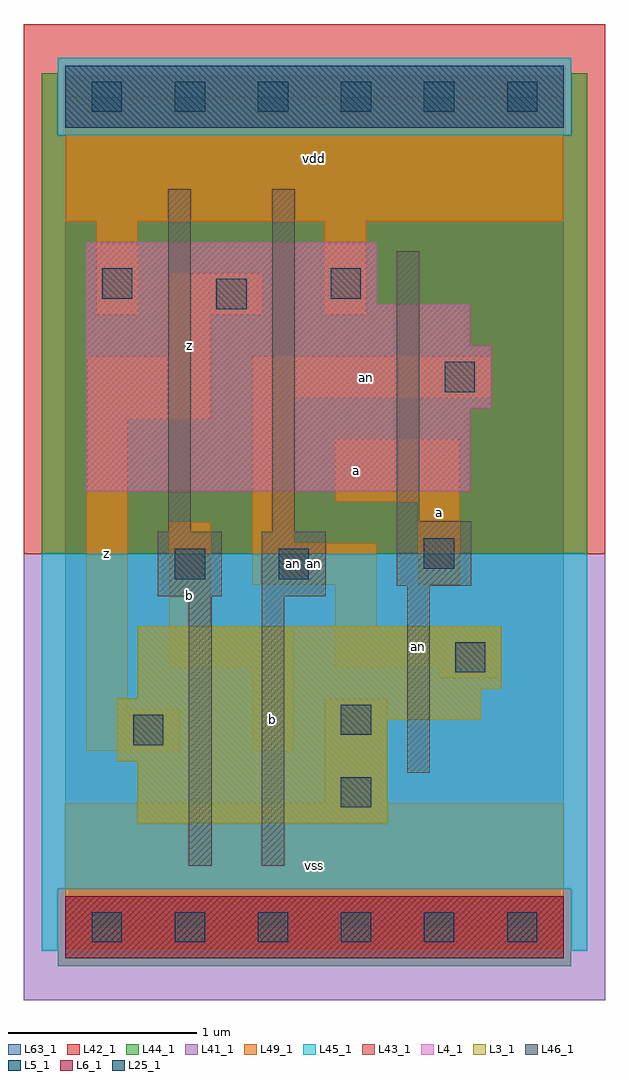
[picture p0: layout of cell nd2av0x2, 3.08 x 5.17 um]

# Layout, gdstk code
import gdstk
lib = gdstk.Library(unit=1e-6, precision=1e-09)
def R(c, l, rs):  # rectangles x0, y0, x1, y1
    for r in rs: c.add(gdstk.rectangle(r[:2], r[2:], *l))
def A(c, l, x, y, w, h, nx, ny, dx, dy):  # array of equal rectangles
    R(c, l, [(x+i*dx, y+j*dy, x+i*dx+w, y+j*dy+h) for i in range(nx) for j in range(ny)])
L3_1 = (3, 1)
L4_1 = (4, 1)
L5_1 = (5, 1)
L6_1 = (6, 1)
L25_1 = (25, 1)
L41_1 = (41, 1)
L42_1 = (42, 1)
L43_1 = (43, 1)
L44_1 = (44, 1)
L45_1 = (45, 1)
L46_1 = (46, 1)
L49_1 = (49, 1)
L63_1 = (63, 1)

nd2av0x2 = lib.new_cell('nd2av0x2')
R(nd2av0x2, L3_1, [(0.385,0.55,1.705,0.88), (0.275,0.88,1.705,1.1), (0.275,1.1,2.2,1.21), (0.385,1.21,2.2,1.265), (0.385,1.265,2.31,1.595)])
R(nd2av0x2, L4_1, [(0.11,2.31,2.145,2.75), (0.11,2.75,2.255,3.08), (0.11,3.08,2.145,3.3), (0.11,3.3,1.65,3.63)])
R(nd2av0x2, L5_1, [(0,4.235,2.64,4.565)])
R(nd2av0x2, L6_1, [(0,-0.165,2.64,0.165)])
A(nd2av0x2, L25_1, 0.14, -0.08, 0.16, 0.16, 6, 2, 0.44, 4.4)
R(nd2av0x2, L25_1, [(1.46,0.635,1.62,0.795), (0.36,0.965,0.52,1.125), (1.46,1.02,1.62,1.18), (2.065,1.35,2.225,1.51), (0.58,1.845,0.74,2.005), (1.13,1.845,1.29,2.005), (1.9,1.9,2.06,2.06), (2.01,2.835,2.17,2.995), (0.8,3.275,0.96,3.435), (0.195,3.33,0.355,3.49), (1.405,3.33,1.565,3.49)])
R(nd2av0x2, L41_1, [(-0.22,-0.385,2.86,1.98)])
R(nd2av0x2, L42_1, [(-0.22,1.98,2.86,4.785)])
R(nd2av0x2, L43_1, [(0,-0.165,2.64,0.165), (0.385,0.55,1.705,0.88), (0.275,0.88,1.705,1.1), (0.275,1.1,2.2,1.21), (0.385,1.21,2.2,1.265), (0.385,1.265,2.31,1.595), (0.11,2.31,2.145,2.75), (0.11,2.75,2.255,3.08), (0.11,3.08,2.145,3.3), (0.11,3.3,1.65,3.63), (0,4.235,2.64,4.565)])
R(nd2av0x2, L44_1, [(-0.04,-0.205,2.68,0.205), (-0.125,1.98,2.765,4.195), (-0.125,4.195,-0.04,4.525), (2.68,4.195,2.765,4.525)])
R(nd2av0x2, L45_1, [(-0.125,-0.125,-0.04,0.205), (2.68,-0.125,2.765,0.205), (-0.125,0.205,2.765,1.98), (-0.04,4.195,2.68,4.605)])
R(nd2av0x2, L46_1, [(0.655,0.325,0.775,1.755), (1.04,0.325,1.16,1.755), (1.81,0.82,1.93,1.81), (0.49,1.755,0.83,2.095), (1.04,1.755,1.38,2.095), (1.755,1.81,2.15,2.15), (0.545,2.095,0.665,3.91), (1.095,2.095,1.215,3.91), (1.755,2.15,1.875,3.58)])
R(nd2av0x2, L49_1, [(0,-0.11,2.64,0.66), (1.375,0.66,1.705,1.21), (0.11,0.935,0.605,1.155), (0.99,0.935,1.21,1.375), (0.11,1.155,0.33,2.695), (1.98,1.32,2.31,1.375), (0.55,1.375,1.21,1.595), (1.43,1.375,2.31,1.595), (0.55,1.595,0.77,2.145), (1.43,1.595,1.65,1.815), (0.99,1.815,1.65,2.035), (1.87,1.815,2.09,2.255), (0.99,2.035,1.21,2.805), (1.43,2.255,2.09,2.585), (0.11,2.695,0.77,3.025), (0.99,2.805,2.255,3.025), (0.55,3.025,0.77,3.245), (0.165,3.245,0.385,3.74), (0.55,3.245,1.045,3.465), (1.375,3.245,1.595,3.74), (0,3.74,2.64,4.51)])
R(nd2av0x2, L63_1, [(0,0,2.64,4.4)])
nd2av0x2.add(gdstk.Label('an', (1.21,1.925), layer=49, texttype=1))
nd2av0x2.add(gdstk.Label('z', (0.22,1.98), layer=49, texttype=1))
nd2av0x2.add(gdstk.Label('b', (1.1,1.1), layer=49, texttype=1))
nd2av0x2.add(gdstk.Label('b', (0.66,1.76), layer=49, texttype=1))
nd2av0x2.add(gdstk.Label('z', (0.66,3.08), layer=49, texttype=1))
nd2av0x2.add(gdstk.Label('vss', (1.32,0.33), layer=49, texttype=1))
nd2av0x2.add(gdstk.Label('an', (1.32,1.925), layer=49, texttype=1))
nd2av0x2.add(gdstk.Label('a', (1.54,2.42), layer=49, texttype=1))
nd2av0x2.add(gdstk.Label('vdd', (1.32,4.07), layer=49, texttype=1))
nd2av0x2.add(gdstk.Label('an', (1.87,1.485), layer=49, texttype=1))
nd2av0x2.add(gdstk.Label('a', (1.98,2.2), layer=49, texttype=1))
nd2av0x2.add(gdstk.Label('an', (1.595,2.915), layer=49, texttype=1))

lib.write_gds('nd2av0x2.gds')
